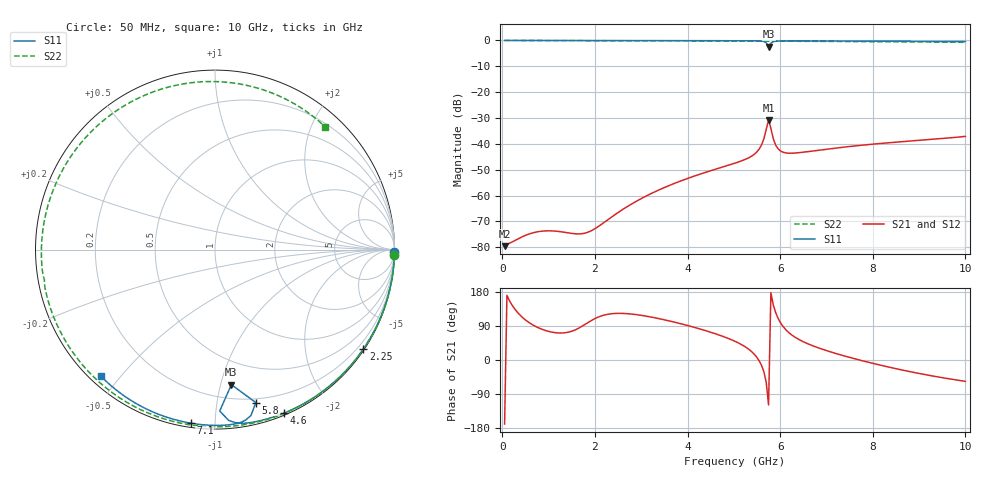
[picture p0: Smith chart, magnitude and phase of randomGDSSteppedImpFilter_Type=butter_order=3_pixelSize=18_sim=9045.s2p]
! freq	dB(S11)	phase(S11)	dB(S12)	phase(S12)
!  dB(S21)	phase(S21)	dB(S22)	phase(S22)
!S-par simulation data
#  GHz  S  DB  R 50
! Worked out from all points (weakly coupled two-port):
!   200 points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, 50 MHz to 10 GHz, reference 50 ohm
!   highest |S21| = -30.77 dB at 5.75 GHz (marker M1); lowest = -79.6 dB at 50 MHz (marker M2)
!   lowest |S11| = -2.4 dB at 5.75 GHz (marker M3), VSWR 7.26, Z = 15.3 - j54.1 ohm
!   |S11| at or under -10 dB: nowhere
!   |S22| runs from -0.7 to 0.0 dB; largest |S21 - S12| = 0
!   S11 on the Smith chart (normalised r, x): 50 MHz: open; 2.25 GHz: 0.03, -3.29; 4.6 GHz: 0.02, -1.51; 5.8 GHz: 0.17, -1.29; 7.1 GHz: 0.02, -0.87; 10 GHz: 0.03, -0.44
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0.05  -0.00 -0.8  -79.57 -168.9  -79.57 -168.9  -0.00 -1.7
0.8  -0.01 -12.2  -73.89 83.9  -73.89 83.9  -0.03 -27.2
1.75  -0.03 -26.4  -74.66 91.2  -74.66 91.2  -0.07 -58.0
2.25  -0.04 -33.8  -69.72 120.0  -69.72 120.0  -0.09 -73.5
2.8  -0.05 -41.8  -63.16 121.1  -63.16 121.1  -0.11 -89.9
3.4  -0.07 -50.4  -57.67 108.8  -57.67 108.8  -0.13 -107.0
4.6  -0.10 -67.1  -49.82 69.3  -49.82 69.3  -0.19 -139.5
5.05  -0.12 -73.4  -47.31 47.9  -47.31 47.9  -0.21 -151.4
5.35  -0.14 -78.0  -45.10 25.6  -45.10 25.6  -0.23 -159.3
5.55  -0.20 -81.9  -41.93 -2.8  -41.93 -2.8  -0.25 -164.7
5.65  -0.40 -85.4  -37.96 -31.5  -37.96 -31.5  -0.26 -167.4
5.7  -0.92 -88.3  -34.28 -59.4  -34.28 -59.4  -0.27 -168.8
5.75  -2.41 -83.1  -30.77 -118.5  -30.77 -118.5  -0.31 -170.0
5.8  -1.09 -75.1  -34.00 177.8  -34.00 177.8  -0.29 -171.1
5.9  -0.31 -79.9  -40.36 126.1  -40.36 126.1  -0.28 -173.9
6.05  -0.20 -83.5  -43.14 90.6  -43.14 90.6  -0.28 -177.9
6.7  -0.19 -93.0  -42.77 37.7  -42.77 37.7  -0.33 164.0
7.1  -0.21 -98.0  -41.85 21.0  -41.85 21.0  -0.37 152.5
7.7  -0.25 -105.4  -40.63 0.4  -40.63 0.4  -0.43 134.2
8.35  -0.29 -113.1  -39.56 -18.8  -39.56 -18.8  -0.50 112.6
9.2  -0.37 -123.0  -38.37 -40.1  -38.37 -40.1  -0.60 81.3
10  -0.45 -132.1  -37.10 -56.3  -37.10 -56.3  -0.73 48.2
